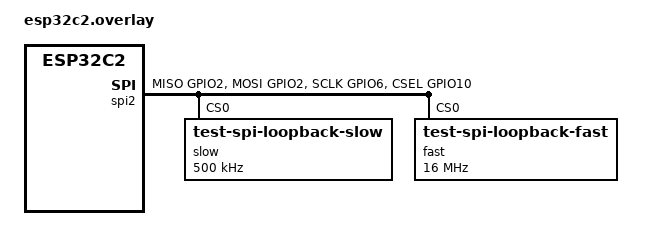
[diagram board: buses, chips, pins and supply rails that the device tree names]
/*
 * Copyright (c) 2024 Espressif Systems (Shanghai) Co., Ltd.
 *
 * SPDX-License-Identifier: Apache-2.0
 */

&pinctrl {
	spim2_loopback: spim2_loopback {
		group1 {
			pinmux = <SPIM2_MISO_GPIO2>;
			output-enable; /* Enable internal loopback */
		};
		group2 {
			pinmux = <SPIM2_MOSI_GPIO2>;
			input-enable; /* Enable internal loopback */
		};
		group3 {
			pinmux = <SPIM2_SCLK_GPIO6>,
				<SPIM2_CSEL_GPIO10>;
		};
	};
};

&spi2 {
	slow@0 {
		compatible = "test-spi-loopback-slow";
		reg = <0>;
		spi-max-frequency = <500000>;
	};
	fast@0 {
		compatible = "test-spi-loopback-fast";
		reg = <0>;
		spi-max-frequency = <16000000>;
	};
};

&spi2 {
	#address-cells = <1>;
	#size-cells = <0>;
	dma-enabled;
	pinctrl-0 = <&spim2_loopback>;
	pinctrl-names = "default";
	status = "okay";
};
